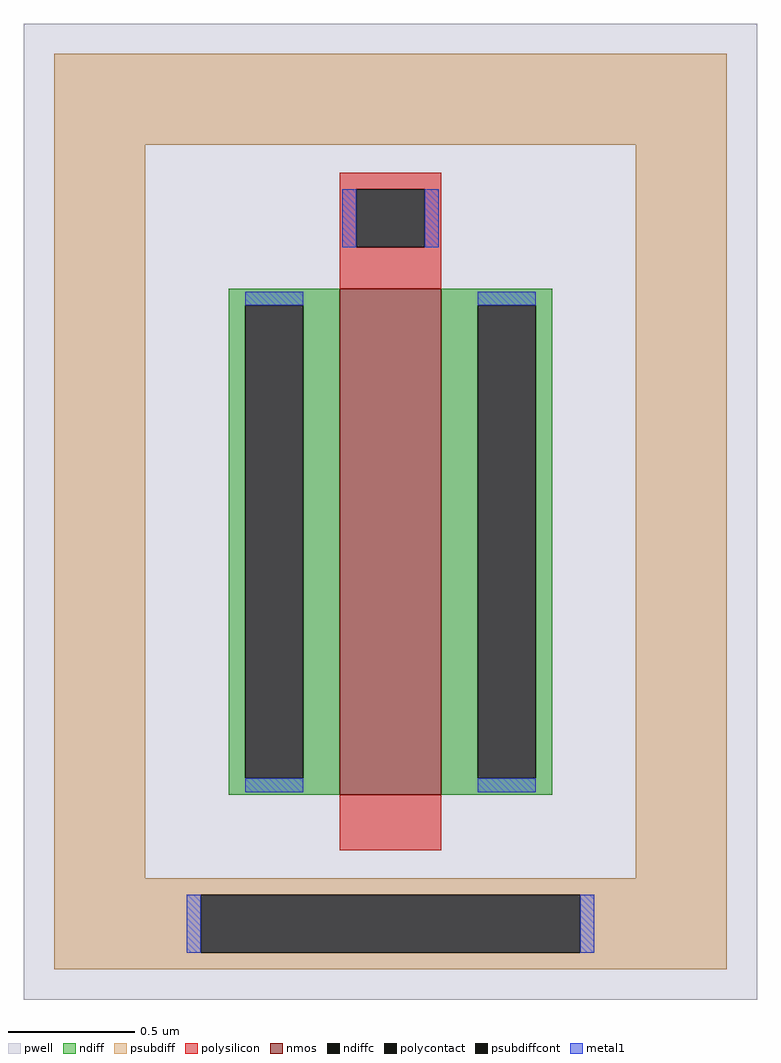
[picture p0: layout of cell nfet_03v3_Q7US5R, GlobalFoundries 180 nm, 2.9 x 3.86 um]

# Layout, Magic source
magic
tech gf180mcuD
magscale 1 10
<< pwell >>
rect -290 -386 290 386
<< nmos >>
rect -40 -224 40 176
<< ndiff >>
rect -128 163 -40 176
rect -128 -211 -115 163
rect -69 -211 -40 163
rect -128 -224 -40 -211
rect 40 163 128 176
rect 40 -211 69 163
rect 115 -211 128 163
rect 40 -224 128 -211
<< ndiffc >>
rect -115 -211 -69 163
rect 69 -211 115 163
<< psubdiff >>
rect -266 290 266 362
rect -266 -290 -194 290
rect 194 -290 266 290
rect -266 -303 266 -290
rect -266 -349 -150 -303
rect 150 -349 266 -303
rect -266 -362 266 -349
<< psubdiffcont >>
rect -150 -349 150 -303
<< polysilicon >>
rect -40 255 40 268
rect -40 209 -27 255
rect 27 209 40 255
rect -40 176 40 209
rect -40 -268 40 -224
<< polycontact >>
rect -27 209 27 255
<< metal1 >>
rect -38 209 -27 255
rect 27 209 38 255
rect -115 163 -69 174
rect -115 -222 -69 -211
rect 69 163 115 174
rect 69 -222 115 -211
rect -161 -349 -150 -303
rect 150 -349 161 -303
<< properties >>
string FIXED_BBOX -230 -326 230 326
string gencell nfet_03v3
string library gf180mcu
string parameters w 2.0 l 0.4 m 1 nf 1 diffcov 100 polycov 100 guard 1 glc 0 grc 0 gtc 0 gbc 1 tbcov 100 rlcov 100 topc 1 botc 0 poverlap 0 doverlap 1 lmin 0.28 wmin 0.22 class mosfet full_metal 0 compatible {nfet_03v3 nfet_06v0 nfet_06v0_nvt}
<< end >>
